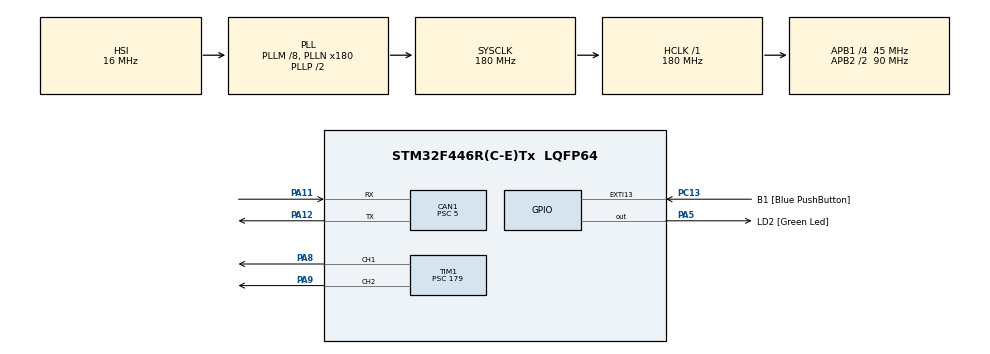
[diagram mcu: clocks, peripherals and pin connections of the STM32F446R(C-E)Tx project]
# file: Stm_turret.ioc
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CAN1.BS1=CAN_BS1_14TQ
CAN1.BS2=CAN_BS2_3TQ
CAN1.CalculateBaudRate=500000
CAN1.CalculateTimeBit=2000
CAN1.CalculateTimeQuantum=111.11111111111111
CAN1.Prescaler=5
FREERTOS.BinarySemaphores01=binSemTurretRxHandle,Dynamic,NULL,Available
FREERTOS.Tasks01=defaultTask,24,128,StartDefaultTask,Default,NULL,Dynamic,NULL,NULL;Task1,24,128,TurretControlTask,Default,NULL,Dynamic,NULL,NULL
Mcu.Family=STM32F4
Mcu.Name=STM32F446R(C-E)Tx
Mcu.Package=LQFP64
NVIC.CAN1_RX0_IRQn=true\:5\:0\:false\:false\:true\:true\:true\:true\:true
NVIC.PriorityGroup=NVIC_PRIORITYGROUP_4
NVIC.TIM5_IRQn=true\:15\:0\:false\:false\:true\:false\:false\:true\:true
NVIC.TimeBase=TIM5_IRQn
NVIC.TimeBaseIP=TIM5
PA11.Mode=CAN_Activate
PA11.Signal=CAN1_RX
PA12.Mode=CAN_Activate
PA12.Signal=CAN1_TX
PA13.GPIO_Label=TMS
PA13.Mode=Serial_Wire
PA13.Signal=SYS_JTMS-SWDIO
PA14.GPIO_Label=TCK
PA14.Mode=Serial_Wire
PA14.Signal=SYS_JTCK-SWCLK
PA2.GPIO_Label=USART_TX
PA2.Signal=USART2_TX
PA3.GPIO_Label=USART_RX
PA3.Signal=USART2_RX
PA5.GPIO_Label=LD2 [Green Led]
PA5.Signal=GPIO_Output
PA8.Signal=S_TIM1_CH1
PA9.Signal=S_TIM1_CH2
PB3.GPIO_Label=SWO
PB3.Signal=SYS_JTDO-SWO
PC13.GPIO_Label=B1 [Blue PushButton]
PC13.GPIO_ModeDefaultEXTI=GPIO_MODE_IT_FALLING
PC13.Signal=GPXTI13
PC14-OSC32_IN.Mode=LSE-External-Oscillator
PC14-OSC32_IN.Signal=RCC_OSC32_IN
PC15-OSC32_OUT.Mode=LSE-External-Oscillator
PC15-OSC32_OUT.Signal=RCC_OSC32_OUT
PH0-OSC_IN.Mode=HSE-External-Oscillator
PH0-OSC_IN.Signal=RCC_OSC_IN
PH1-OSC_OUT.Mode=HSE-External-Oscillator
PH1-OSC_OUT.Signal=RCC_OSC_OUT
ProjectManager.HeapSize=0x200
ProjectManager.StackSize=0x400
ProjectManager.TargetToolchain=CMake
RCC.48MHZClocksFreq_Value=84000000
RCC.AHBFreq_Value=180000000
RCC.APB1CLKDivider=RCC_HCLK_DIV4
RCC.APB1Freq_Value=45000000
RCC.APB1TimFreq_Value=90000000
RCC.APB2CLKDivider=RCC_HCLK_DIV2
RCC.APB2Freq_Value=90000000
RCC.APB2TimFreq_Value=180000000
RCC.CortexFreq_Value=180000000
RCC.FLatency-AdvancedSettings=FLASH_LATENCY_5
RCC.HCLKFreq_Value=180000000
RCC.HSE_VALUE=8000000
RCC.HSI_VALUE=16000000
RCC.PLLM=8
RCC.PLLN=180
RCC.SYSCLKFreq_VALUE=180000000
RCC.SYSCLKSource=RCC_SYSCLKSOURCE_PLLCLK
RCC.USBFreq_Value=180000000
RCC.VCOOutputFreq_Value=360000000
SH.S_TIM1_CH1.0=TIM1_CH1,PWM Generation1 CH1
SH.S_TIM1_CH2.0=TIM1_CH2,PWM Generation2 CH2
TIM1.Channel-PWM\ Generation1\ CH1=TIM_CHANNEL_1
TIM1.Channel-PWM\ Generation2\ CH2=TIM_CHANNEL_2
TIM1.Period=20000-1
TIM1.Prescaler=179
VP_FREERTOS_VS_CMSIS_V2.Mode=CMSIS_V2
VP_SYS_VS_tim5.Mode=TIM5
VP_TIM1_VS_ClockSourceINT.Mode=Internal
board=NUCLEO-F446RE

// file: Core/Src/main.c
/* USER CODE BEGIN Header */
/**
  ******************************************************************************
  * @file           : main.c
  * @brief          : Main program body
  ******************************************************************************
  * @attention
  *
  * Copyright (c) 2026 STMicroelectronics.
  * All rights reserved.
  *
  * This software is licensed under terms that can be found in the LICENSE file
  * in the root directory of this software component.
  * If no LICENSE file comes with this software, it is provided AS-IS.
  *
  ******************************************************************************
  */
/* USER CODE END Header */
#include "main.h"
#include "cmsis_os.h"
#include "can.h"
#include "tim.h"
#include "gpio.h"

/* USER CODE BEGIN PV */
extern osSemaphoreId_t binSemTurretRxHandleHandle;
/* USER CODE END PV */

void SystemClock_Config(void);
void MX_FREERTOS_Init(void);

int main(void)
{

  /* MCU Configuration--------------------------------------------------------*/

  /* Reset of all peripherals, Initializes the Flash interface and the Systick. */
  HAL_Init();

  /* Configure the system clock */
  SystemClock_Config();

  /* Initialize all configured peripherals */
  MX_GPIO_Init();
  MX_CAN1_Init();
  MX_TIM1_Init();
  /* USER CODE BEGIN 2 */
  // 1. CAN 필터 설정을 위한 구조체 변수 선언
  CAN_FilterTypeDef sFilterConfig;

  // 2. 구조체 내부 멤버 변수 초기화 (모든 CAN ID를 수신하도록 설정)
  sFilterConfig.FilterBank = 0;
  sFilterConfig.FilterMode = CAN_FILTERMODE_IDMASK;
  sFilterConfig.FilterScale = CAN_FILTERSCALE_32BIT;
  sFilterConfig.FilterIdHigh = 0x0000;
  sFilterConfig.FilterIdLow = 0x0000;
  sFilterConfig.FilterMaskIdHigh = 0x0000;
  sFilterConfig.FilterMaskIdLow = 0x0000;
  sFilterConfig.FilterFIFOAssignment = CAN_RX_FIFO0;
  sFilterConfig.FilterActivation = ENABLE;
  sFilterConfig.SlaveStartFilterBank = 14;

  // 3. 필터 설정 적용 및 CAN 장치 활성화
  HAL_CAN_ConfigFilter(&hcan1, &sFilterConfig); // 필터 세팅
  HAL_CAN_Start(&hcan1);                       // CAN 시작
  HAL_CAN_ActivateNotification(&hcan1, CAN_IT_RX_FIFO0_MSG_PENDING); // 수신 인터럽트 활성화

  HAL_CAN_ConfigFilter(&hcan1, &sFilterConfig); // 필터 세팅
  HAL_CAN_Start(&hcan1);                       // CAN 시작
  HAL_CAN_ActivateNotification(&hcan1, CAN_IT_RX_FIFO0_MSG_PENDING); // 수신 인터럽트 활성화
  /* USER CODE END 2 */

  /* Init scheduler */
  osKernelInitialize();  /* Call init function for freertos objects (in cmsis_os2.c) */
  MX_FREERTOS_Init();

  /* Start scheduler */
  osKernelStart();

  /* We should never get here as control is now taken by the scheduler */

  /* Infinite loop */
  while (1)
  {

  }
}

void SystemClock_Config(void)
{
  RCC_OscInitTypeDef RCC_OscInitStruct = {0};
  RCC_ClkInitTypeDef RCC_ClkInitStruct = {0};

  /** Configure the main internal regulator output voltage
  */
  __HAL_RCC_PWR_CLK_ENABLE();
  __HAL_PWR_VOLTAGESCALING_CONFIG(PWR_REGULATOR_VOLTAGE_SCALE1);

  /** Initializes the RCC Oscillators according to the specified parameters
  * in the RCC_OscInitTypeDef structure.
  */
  RCC_OscInitStruct.OscillatorType = RCC_OSCILLATORTYPE_HSI;
  RCC_OscInitStruct.HSIState = RCC_HSI_ON;
  RCC_OscInitStruct.HSICalibrationValue = RCC_HSICALIBRATION_DEFAULT;
  RCC_OscInitStruct.PLL.PLLState = RCC_PLL_ON;
  RCC_OscInitStruct.PLL.PLLSource = RCC_PLLSOURCE_HSI;
  RCC_OscInitStruct.PLL.PLLM = 8;
  RCC_OscInitStruct.PLL.PLLN = 180;
  RCC_OscInitStruct.PLL.PLLP = RCC_PLLP_DIV2;
  RCC_OscInitStruct.PLL.PLLQ = 2;
  RCC_OscInitStruct.PLL.PLLR = 2;
  if (HAL_RCC_OscConfig(&RCC_OscInitStruct) != HAL_OK)
  {
    Error_Handler();
  }

  /** Activate the Over-Drive mode
  */
  if (HAL_PWREx_EnableOverDrive() != HAL_OK)
  {
    Error_Handler();
  }

  /** Initializes the CPU, AHB and APB buses clocks
  */
  RCC_ClkInitStruct.ClockType = RCC_CLOCKTYPE_HCLK|RCC_CLOCKTYPE_SYSCLK
                              |RCC_CLOCKTYPE_PCLK1|RCC_CLOCKTYPE_PCLK2;
  RCC_ClkInitStruct.SYSCLKSource = RCC_SYSCLKSOURCE_PLLCLK;
  RCC_ClkInitStruct.AHBCLKDivider = RCC_SYSCLK_DIV1;
  RCC_ClkInitStruct.APB1CLKDivider = RCC_HCLK_DIV4;
  RCC_ClkInitStruct.APB2CLKDivider = RCC_HCLK_DIV2;

  if (HAL_RCC_ClockConfig(&RCC_ClkInitStruct, FLASH_LATENCY_5) != HAL_OK)
  {
    Error_Handler();
  }
}

void HAL_TIM_PeriodElapsedCallback(TIM_HandleTypeDef *htim)
{
  if (htim->Instance == TIM5)
  {
    HAL_IncTick();
  }
}

void Error_Handler(void)
{
  __disable_irq();
  while (1)
  {
  }
}

void HAL_CAN_RxFifo0MsgPendingCallback(CAN_HandleTypeDef *hcan)
{
  CAN_RxHeaderTypeDef rxHeader;
  uint8_t rxData[8];

  if (hcan->Instance == CAN1)
  {
    HAL_CAN_GetRxMessage(hcan, CAN_RX_FIFO0, &rxHeader, rxData);

    // 데이터 처리 로직 (생략)

    /* 변경: xSemaphoreGiveFromISR 대신 CMSIS_V2 표준 함수 사용 */
    if (binSemTurretRxHandleHandle != NULL) {
      osSemaphoreRelease(binSemTurretRxHandleHandle);
    }
  }
}

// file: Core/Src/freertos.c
/* USER CODE BEGIN Header */
/**
  ******************************************************************************
  * File Name          : freertos.c
  * Description        : Code for freertos applications
  ******************************************************************************
  * @attention
  *
  * Copyright (c) 2026 STMicroelectronics.
  * All rights reserved.
  *
  * This software is licensed under terms that can be found in the LICENSE file
  * in the root directory of this software component.
  * If no LICENSE file comes with this software, it is provided AS-IS.
  *
  ******************************************************************************
  */
/* USER CODE END Header */

#include "FreeRTOS.h"
#include "task.h"
#include "main.h"
#include "cmsis_os.h"

/* USER CODE BEGIN Includes */
#include "tim.h"
/* USER CODE END Includes */

/* Definitions for defaultTask */
osThreadId_t defaultTaskHandle;
const osThreadAttr_t defaultTask_attributes = {
  .name = "defaultTask",
  .stack_size = 128 * 4,
  .priority = (osPriority_t) osPriorityNormal,
};
/* Definitions for Task1 */
osThreadId_t Task1Handle;
const osThreadAttr_t Task1_attributes = {
  .name = "Task1",
  .stack_size = 128 * 4,
  .priority = (osPriority_t) osPriorityNormal,
};
/* Definitions for binSemTurretRxHandle */
osSemaphoreId_t binSemTurretRxHandleHandle;
const osSemaphoreAttr_t binSemTurretRxHandle_attributes = {
  .name = "binSemTurretRxHandle"
};

void StartDefaultTask(void *argument);
void TurretControlTask(void *argument);

void MX_FREERTOS_Init(void); /* (MISRA C 2004 rule 8.1) */

void MX_FREERTOS_Init(void) {

  /* Create the semaphores(s) */
  /* creation of binSemTurretRxHandle */
  binSemTurretRxHandleHandle = osSemaphoreNew(1, 1, &binSemTurretRxHandle_attributes);

  /* Create the thread(s) */
  /* creation of defaultTask */
  defaultTaskHandle = osThreadNew(StartDefaultTask, NULL, &defaultTask_attributes);

  /* creation of Task1 */
  Task1Handle = osThreadNew(TurretControlTask, NULL, &Task1_attributes);

}

void StartDefaultTask(void *argument)
{
  for(;;)
  {
    osDelay(1);
  }
}

void TurretControlTask(void *argument)
{
  /* USER CODE BEGIN TurretControlTask */
  /* Infinite loop */
  uint32_t pitch_pwm_value = 0;
  uint32_t yaw_pwm_value = 0;

  // PWM 타이머 시작
  HAL_TIM_PWM_Start(&htim1, TIM_CHANNEL_1);
  HAL_TIM_PWM_Start(&htim1, TIM_CHANNEL_2);

  for(;;)
  {
    /* 변경: xSemaphoreTake 대신 osSemaphoreAcquire 사용 (무한대기: osWaitForever) */
    if (osSemaphoreAcquire(binSemTurretRxHandleHandle, osWaitForever) == osOK)
    {
      // 조종 데이터 분석 후 구동할 PWM 값 계산 로직이 이곳에 들어갑니다.
      // 예: pitch_pwm_value = ... ;

      // 정해진 값을 타이머 레지스터에 입력
      __HAL_TIM_SET_COMPARE(&htim1, TIM_CHANNEL_1, pitch_pwm_value);
      __HAL_TIM_SET_COMPARE(&htim1, TIM_CHANNEL_2, yaw_pwm_value);
    }
  }
  /* USER CODE END TurretControlTask */
}
